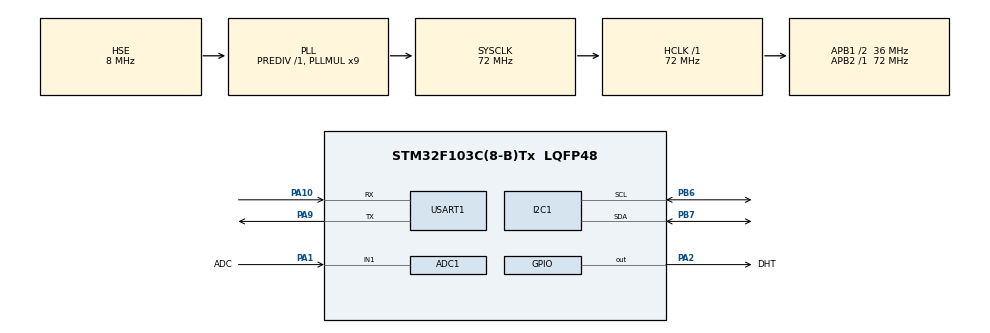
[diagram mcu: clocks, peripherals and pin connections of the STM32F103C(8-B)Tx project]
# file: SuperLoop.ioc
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ADC1.Channel-0\#ChannelRegularConversion=ADC_CHANNEL_1
ADC1.NbrOfConversionFlag=1
ADC1.Rank-0\#ChannelRegularConversion=1
ADC1.SamplingTime-0\#ChannelRegularConversion=ADC_SAMPLETIME_1CYCLE_5
ADC1.master=1
Mcu.Family=STM32F1
Mcu.Name=STM32F103C(8-B)Tx
Mcu.Package=LQFP48
NVIC.PriorityGroup=NVIC_PRIORITYGROUP_4
NVIC.USART1_IRQn=true\:0\:0\:false\:false\:true\:true\:true\:true
PA1.GPIO_Label=ADC
PA1.Signal=ADCx_IN1
PA10.Mode=Asynchronous
PA10.Signal=USART1_RX
PA13.Mode=Serial_Wire
PA13.Signal=SYS_JTMS-SWDIO
PA14.Mode=Serial_Wire
PA14.Signal=SYS_JTCK-SWCLK
PA2.GPIO_Label=DHT
PA2.Signal=GPIO_Output
PA9.Mode=Asynchronous
PA9.Signal=USART1_TX
PB6.Mode=I2C
PB6.Signal=I2C1_SCL
PB7.Mode=I2C
PB7.Signal=I2C1_SDA
PD0-OSC_IN.Mode=HSE-External-Oscillator
PD0-OSC_IN.Signal=RCC_OSC_IN
PD1-OSC_OUT.Mode=HSE-External-Oscillator
PD1-OSC_OUT.Signal=RCC_OSC_OUT
ProjectManager.HeapSize=0x200
ProjectManager.StackSize=0x400
ProjectManager.TargetToolchain=STM32CubeIDE
RCC.ADCPresc=RCC_ADCPCLK2_DIV6
RCC.AHBFreq_Value=72000000
RCC.APB1CLKDivider=RCC_HCLK_DIV2
RCC.APB1Freq_Value=36000000
RCC.APB1TimFreq_Value=72000000
RCC.APB2Freq_Value=72000000
RCC.APB2TimFreq_Value=72000000
RCC.HCLKFreq_Value=72000000
RCC.PLLMUL=RCC_PLL_MUL9
RCC.PLLSourceVirtual=RCC_PLLSOURCE_HSE
RCC.SYSCLKFreq_VALUE=72000000
RCC.SYSCLKSource=RCC_SYSCLKSOURCE_PLLCLK
RCC.USBFreq_Value=72000000
SH.ADCx_IN1.0=ADC1_IN1,IN1
TIM1.Prescaler=71
USART1.VirtualMode=VM_ASYNC
VP_TIM1_VS_ClockSourceINT.Mode=Internal
board=custom

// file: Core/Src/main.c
/* USER CODE BEGIN Header */
/**
  ******************************************************************************
  * @file           : main.c
  * @brief          : Main program body
  ******************************************************************************
  * @attention
  *
  * Copyright (c) 2026 STMicroelectronics.
  * All rights reserved.
  *
  * This software is licensed under terms that can be found in the LICENSE file
  * in the root directory of this software component.
  * If no LICENSE file comes with this software, it is provided AS-IS.
  *
  ******************************************************************************
  */
/* USER CODE END Header */
#include "main.h"
#include "adc.h"
#include "i2c.h"
#include "tim.h"
#include "usart.h"
#include "gpio.h"

/* USER CODE BEGIN Includes */
#include "SHT3X.h"
#include "DHT22.h"
#include"I2CLCD.h"
#include <stdio.h>
#include <string.h>
/* USER CODE END Includes */

/* USER CODE BEGIN PD */
DHT22_HandleTypeDef dht;
DHT22_Data_t dht_data;
/* USER CODE END PD */

/* USER CODE BEGIN PV */
volatile uint32_t ADC_val = 0;
float t = 0, h = 0;
uint8_t status = 0;
uint8_t flag = 0; // 0: SHT31, 1: DHT22
volatile uint32_t P = 3000;
volatile int t0;
char uart_tx_buf[100];
uint8_t rx_byte;
uint8_t rx_buffer[50];
uint8_t rx_index = 0;
/* USER CODE END PV */

void SystemClock_Config(void);

/* USER CODE BEGIN 0 */
void Task_ADC(void){
    HAL_ADC_Start(&hadc1);
    if(HAL_ADC_PollForConversion(&hadc1, 10) == HAL_OK){
        ADC_val = HAL_ADC_GetValue(&hadc1);
    }
    HAL_ADC_Stop(&hadc1);
}
void Task_Read_Sensor(void) {
    if (flag == 0) {
        // Đọc SHT3x
        status = SHT31_ReadData(&t, &h);
    } else {
        // Đọc DHT22
        //__disable_irq();
    	int res = DHT22_Read(&dht, &dht_data);
        if(res==0){
        	status = 1;
        	t = dht_data.Temperature;
        }
        else{
        	int len = snprintf(uart_tx_buf, sizeof(uart_tx_buf), "%d", res);
        	HAL_UART_Transmit(&huart1, (uint8_t*)uart_tx_buf, len, 100);
        }
        //__enable_irq();
    }
}
void Task_UART(void) {
    const char* sensor_name = (flag == 0) ? "SHT31" : "DHT22";
    // Gộp ADC và Nhiệt độ vào một lần gửi
    int len = snprintf(uart_tx_buf, sizeof(uart_tx_buf),
             "[%s] Temp: %.1f C | Gas: %lu\r\n", sensor_name, t, ADC_val);

    HAL_UART_Transmit(&huart1, (uint8_t*)uart_tx_buf, len, 100);
}
void Task_LCD(void) {
    char buf[16];

    //lcd_clear();

    lcd_put_cur(0, 0);
    if(status) {
        snprintf(buf, sizeof(buf), "Temp: %.1f C", t);
    } else {
        snprintf(buf, sizeof(buf), "Temp: Error");
    }
    lcd_send_string(buf);

    lcd_put_cur(1, 0);
    snprintf(buf, sizeof(buf), "Gas: %lu", ADC_val);
    lcd_send_string(buf);
}
/* USER CODE END 0 */

int main(void)
{

  /* MCU Configuration--------------------------------------------------------*/

  /* Reset of all peripherals, Initializes the Flash interface and the Systick. */
  HAL_Init();

  /* Configure the system clock */
  SystemClock_Config();

  /* Initialize all configured peripherals */
  MX_GPIO_Init();
  MX_ADC1_Init();
  MX_I2C1_Init();
  MX_USART1_UART_Init();
  MX_TIM1_Init();
  /* USER CODE BEGIN 2 */
  lcd_init();
  SHT31_Init();
  dht.htim = &htim1;
  dht.GPIOx = GPIOA;
  dht.GPIO_Pin = GPIO_PIN_2;
  DHT22_Init(&dht);
  HAL_TIM_Base_Start(&htim1);
  HAL_UART_Receive_IT(&huart1, (uint8_t*)&rx_byte, 1);
  /* USER CODE END 2 */

  /* Infinite loop */
  /* USER CODE BEGIN WHILE */
  t0 = HAL_GetTick();
  while (1)
  {
	  if(HAL_GetTick() - t0 >= P){
		  t0 = HAL_GetTick();
		  Task_ADC();
		  Task_Read_Sensor();
		  Task_UART();
		  Task_LCD();
	  }
	  if (__HAL_UART_GET_FLAG(&huart1, UART_FLAG_ORE)) {
		  __HAL_UART_CLEAR_OREFLAG(&huart1);
		  HAL_UART_Receive_IT(&huart1, &rx_byte, 1);
	        }
	    }
    /* USER CODE END WHILE */

}

void SystemClock_Config(void)
{
  RCC_OscInitTypeDef RCC_OscInitStruct = {0};
  RCC_ClkInitTypeDef RCC_ClkInitStruct = {0};
  RCC_PeriphCLKInitTypeDef PeriphClkInit = {0};

  /** Initializes the RCC Oscillators according to the specified parameters
  * in the RCC_OscInitTypeDef structure.
  */
  RCC_OscInitStruct.OscillatorType = RCC_OSCILLATORTYPE_HSE;
  RCC_OscInitStruct.HSEState = RCC_HSE_ON;
  RCC_OscInitStruct.HSEPredivValue = RCC_HSE_PREDIV_DIV1;
  RCC_OscInitStruct.HSIState = RCC_HSI_ON;
  RCC_OscInitStruct.PLL.PLLState = RCC_PLL_ON;
  RCC_OscInitStruct.PLL.PLLSource = RCC_PLLSOURCE_HSE;
  RCC_OscInitStruct.PLL.PLLMUL = RCC_PLL_MUL9;
  if (HAL_RCC_OscConfig(&RCC_OscInitStruct) != HAL_OK)
  {
    Error_Handler();
  }

  /** Initializes the CPU, AHB and APB buses clocks
  */
  RCC_ClkInitStruct.ClockType = RCC_CLOCKTYPE_HCLK|RCC_CLOCKTYPE_SYSCLK
                              |RCC_CLOCKTYPE_PCLK1|RCC_CLOCKTYPE_PCLK2;
  RCC_ClkInitStruct.SYSCLKSource = RCC_SYSCLKSOURCE_PLLCLK;
  RCC_ClkInitStruct.AHBCLKDivider = RCC_SYSCLK_DIV1;
  RCC_ClkInitStruct.APB1CLKDivider = RCC_HCLK_DIV2;
  RCC_ClkInitStruct.APB2CLKDivider = RCC_HCLK_DIV1;

  if (HAL_RCC_ClockConfig(&RCC_ClkInitStruct, FLASH_LATENCY_2) != HAL_OK)
  {
    Error_Handler();
  }
  PeriphClkInit.PeriphClockSelection = RCC_PERIPHCLK_ADC;
  PeriphClkInit.AdcClockSelection = RCC_ADCPCLK2_DIV6;
  if (HAL_RCCEx_PeriphCLKConfig(&PeriphClkInit) != HAL_OK)
  {
    Error_Handler();
  }
}

/* USER CODE BEGIN 4 */
void HAL_UART_RxCpltCallback(UART_HandleTypeDef *huart) {
    if (huart->Instance == USART1) {
        if (rx_byte == '\n' || rx_byte == '\r') {
            if (rx_index > 0) {
                rx_buffer[rx_index] = '\0';
                if (strstr((char*)rx_buffer, "SET_PERIOD") != NULL) {
                    char target[10] = {0};
                    int val = 0;
                    if (sscanf((char*)rx_buffer, "SET_PERIOD:%9[^:]:%d", target, &val) == 2) {
                        if (strcmp(target, "ALL") == 0) {
                            P = (uint16_t)val;
                            t0 = HAL_GetTick();
                            HAL_UART_Transmit(&huart1, (uint8_t*)"ALL PERIOD UPDATED\r\n", 20, 10);
                        }
                    }
                }
                else if (strstr((char*)rx_buffer, "MODE:SHT") != NULL) {
                    flag = 0;
                    HAL_UART_Transmit(&huart1, (uint8_t*)"MODE SHT\r\n", 10, 10);
                }
                else if (strstr((char*)rx_buffer, "MODE:DHT") != NULL) {
                    flag = 1;
                    HAL_UART_Transmit(&huart1, (uint8_t*)"MODE DHT\r\n", 10, 10);
                }
                rx_index = 0;
                memset((uint8_t*)rx_buffer, 0, sizeof(rx_buffer));
            }
        }
        else {
            if (rx_byte >= 32 && rx_byte <= 126) {
                if (rx_index < (sizeof(rx_buffer) - 1)) {
                    rx_buffer[rx_index++] = rx_byte;
                }
            }
        }
        HAL_UART_Receive_IT(&huart1, (uint8_t*)&rx_byte, 1);
    }
}
/* USER CODE END 4 */

void Error_Handler(void)
{
  __disable_irq();
  while (1)
  {
  }
}
